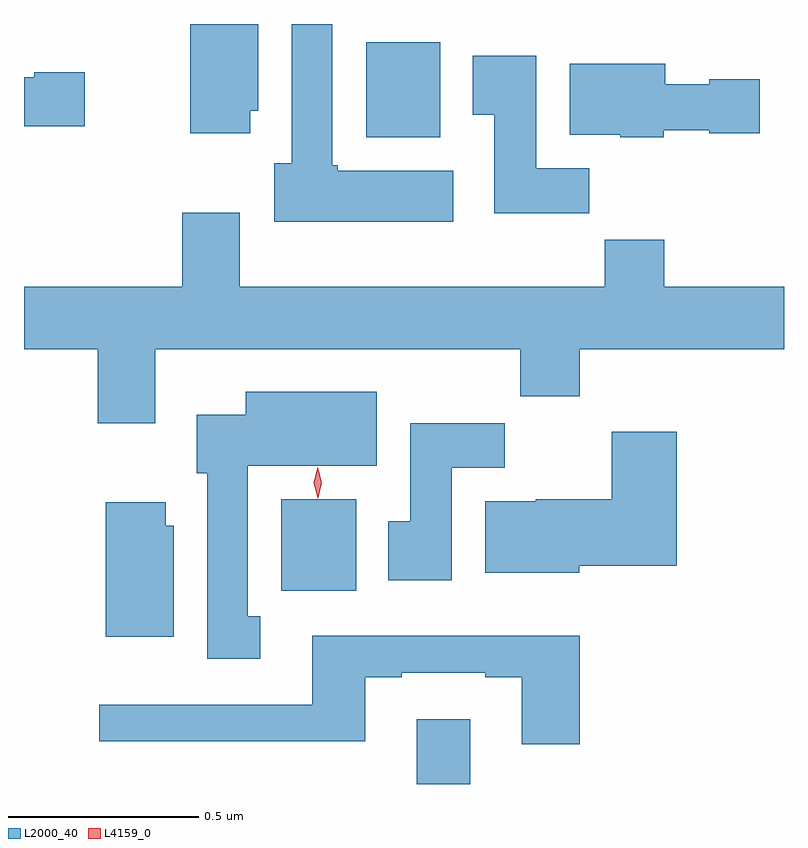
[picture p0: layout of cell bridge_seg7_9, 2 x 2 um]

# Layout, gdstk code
import gdstk
lib = gdstk.Library(unit=1e-6, precision=1e-09)
def R(c, l, rs):  # rectangles x0, y0, x1, y1
    for r in rs: c.add(gdstk.rectangle(r[:2], r[2:], *l))
def P(c, l, *ps):  # polygons
    for p in ps: c.add(gdstk.Polygon(p, *l))
L2000_40 = (2000, 40)
L4159_0 = (4159, 0)

bridge_seg7_9 = lib.new_cell('bridge_seg7_9')
R(bridge_seg7_9, L2000_40, [(1086.575,1068.736,1086.715,1068.907), (1086.218,1069.244,1086.415,1069.486), (1086.441,1070.438,1086.637,1070.688)])
P(bridge_seg7_9, L2000_40, [(1086.67,1070.35),(1086.366,1070.35),(1086.366,1070.364),(1086.352,1070.364),(1086.352,1070.736),(1086.245,1070.736),(1086.245,1070.37),(1086.2,1070.37),(1086.2,1070.216),(1086.67,1070.216)],
  [(1086.136,1070.508),(1086.157,1070.508),(1086.157,1070.736),(1085.978,1070.736),(1085.978,1070.448),(1086.136,1070.448)],
  [(1087.028,1070.356),(1086.889,1070.356),(1086.889,1070.653),(1086.722,1070.653),(1086.722,1070.497),(1086.779,1070.497),(1086.779,1070.238),(1087.028,1070.238)],
  [(1087.224,1070.456),(1087.344,1070.456),(1087.344,1070.449),(1087.477,1070.449),(1087.477,1070.591),(1087.344,1070.591),(1087.344,1070.578),(1087.228,1070.578),(1087.228,1070.632),(1086.977,1070.632),(1086.977,1070.444),(1087.11,1070.444),(1087.11,1070.438),(1087.224,1070.438)],
  [(1085.701,1070.609),(1085.568,1070.609),(1085.568,1070.596),(1085.541,1070.596),(1085.541,1070.467),(1085.701,1070.467)],
  [(1085.887,1069.88),(1086.847,1069.88),(1086.847,1069.756),(1087.004,1069.756),(1087.004,1069.88),(1087.541,1069.88),(1087.541,1070.044),(1087.226,1070.044),(1087.226,1070.168),(1087.069,1070.168),(1087.069,1070.044),(1086.109,1070.044),(1086.109,1070.239),(1085.957,1070.239),(1085.957,1070.044),(1085.541,1070.044),(1085.541,1069.88),(1085.735,1069.88),(1085.735,1069.686),(1085.887,1069.686)],
  [(1086.163,1069.178),(1086.13,1069.178),(1086.13,1069.574),(1086.469,1069.574),(1086.469,1069.768),(1086.125,1069.768),(1086.125,1069.708),(1085.996,1069.708),(1085.996,1069.554),(1086.023,1069.554),(1086.023,1069.065),(1086.163,1069.065)],
  [(1086.667,1069.568),(1086.806,1069.568),(1086.806,1069.686),(1086.557,1069.686),(1086.557,1069.428),(1086.5,1069.428),(1086.5,1069.272),(1086.667,1069.272)],
  [(1087.002,1069.31),(1087.259,1069.31),(1087.259,1069.663),(1087.088,1069.663),(1087.088,1069.486),(1086.888,1069.486),(1086.888,1069.48),(1086.755,1069.48),(1086.755,1069.292),(1087.002,1069.292)],
  [(1085.935,1069.416),(1085.914,1069.416),(1085.914,1069.477),(1085.756,1069.477),(1085.756,1069.124),(1085.935,1069.124)],
  [(1087.004,1069.126),(1086.299,1069.126),(1086.299,1068.945),(1085.739,1068.945),(1085.739,1068.848),(1086.439,1068.848),(1086.439,1069.017),(1086.535,1069.017),(1086.535,1069.029),(1086.755,1069.029),(1086.755,1069.017),(1086.851,1069.017),(1086.851,1068.84),(1087.004,1068.84)])
P(bridge_seg7_9, L4159_0, [(1086.314,1069.488),(1086.314,1069.489),(1086.304,1069.529),(1086.314,1069.57),(1086.314,1069.57),(1086.314,1069.57),(1086.324,1069.529),(1086.315,1069.489)])

lib.write_gds('bridge_seg7_9.gds')
